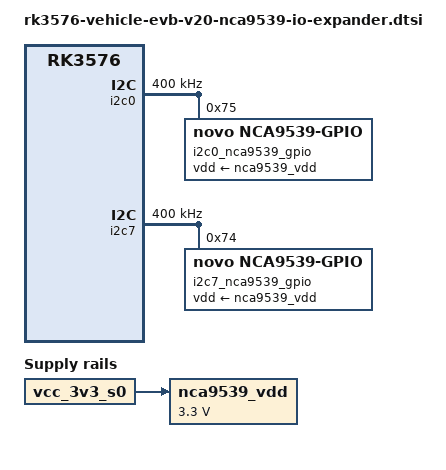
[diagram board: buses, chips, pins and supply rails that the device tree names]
// SPDX-License-Identifier: (GPL-2.0+ OR MIT)
/*
 * Copyright (c) 2023 Rockchip Electronics Co., Ltd.
 *
 */

/ {
	nca9539_vdd: nca9539-vdd3v3 {
		compatible = "regulator-fixed";
		regulator-name = "nca9539_vdd";
		regulator-boot-on;
		regulator-always-on;
		regulator-min-microvolt = <3300000>;
		regulator-max-microvolt = <3300000>;
		startup-delay-us = <20>; // NCA9539 POR
		vin-supply = <&vcc_3v3_s0>;
	};

};

&i2c0 {
	pinctrl-0 = <&i2c0m1_xfer>;
	clock-frequency = <400000>;
	status = "okay";

	i2c0_nca9539_gpio: gpio@75 {
		status = "okay";
		compatible = "novo,nca9539-gpio";
		reg = <0x75>;
		gpio-controller;
		#gpio-cells = <2>;
		ngpios = <16>;
		interrupt-controller;
		#interrupt-cells = <2>;
		vdd-supply = <&nca9539_vdd>;
	};
};

&i2c7 {
	pinctrl-0 = <&i2c7m1_xfer>;
	clock-frequency = <400000>;
	status = "okay";

	i2c7_nca9539_gpio: gpio@74 {
		status = "okay";
		compatible = "novo,nca9539-gpio";
		reg = <0x74>;
		gpio-controller;
		#gpio-cells = <2>;
		ngpios = <16>;
		interrupt-controller;
		#interrupt-cells = <2>;
		vdd-supply = <&nca9539_vdd>;
	};
};
